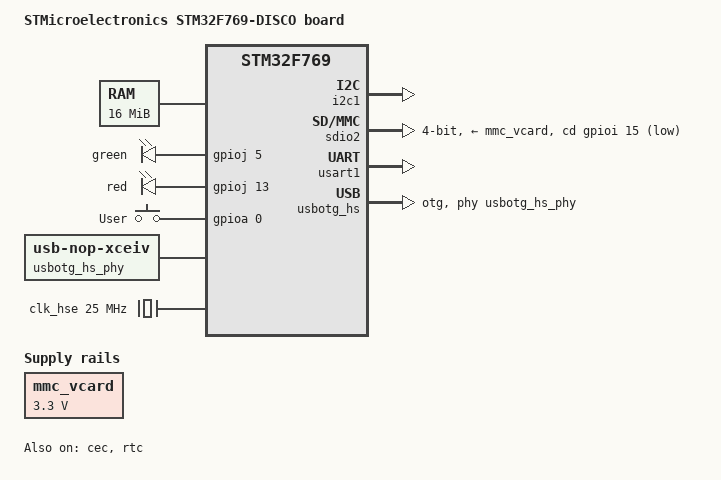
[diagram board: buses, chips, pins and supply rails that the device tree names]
/*
 * Copyright 2017 - Vikas MANOCHA <vikas.manocha@st.com>
 *
 * This file is dual-licensed: you can use it either under the terms
 * of the GPL or the X11 license, at your option. Note that this dual
 * licensing only applies to this file, and not this project as a
 * whole.
 *
 *  a) This file is free software; you can redistribute it and/or
 *     modify it under the terms of the GNU General Public License as
 *     published by the Free Software Foundation; either version 2 of the
 *     License, or (at your option) any later version.
 *
 *     This file is distributed in the hope that it will be useful,
 *     but WITHOUT ANY WARRANTY; without even the implied warranty of
 *     MERCHANTABILITY or FITNESS FOR A PARTICULAR PURPOSE.  See the
 *     GNU General Public License for more details.
 *
 * Or, alternatively,
 *
 *  b) Permission is hereby granted, free of charge, to any person
 *     obtaining a copy of this software and associated documentation
 *     files (the "Software"), to deal in the Software without
 *     restriction, including without limitation the rights to use,
 *     copy, modify, merge, publish, distribute, sublicense, and/or
 *     sell copies of the Software, and to permit persons to whom the
 *     Software is furnished to do so, subject to the following
 *     conditions:
 *
 *     The above copyright notice and this permission notice shall be
 *     included in all copies or substantial portions of the Software.
 *
 *     THE SOFTWARE IS PROVIDED "AS IS", WITHOUT WARRANTY OF ANY KIND,
 *     EXPRESS OR IMPLIED, INCLUDING BUT NOT LIMITED TO THE WARRANTIES
 *     OF MERCHANTABILITY, FITNESS FOR A PARTICULAR PURPOSE AND
 *     NONINFRINGEMENT. IN NO EVENT SHALL THE AUTHORS OR COPYRIGHT
 *     HOLDERS BE LIABLE FOR ANY CLAIM, DAMAGES OR OTHER LIABILITY,
 *     WHETHER IN AN ACTION OF CONTRACT, TORT OR OTHERWISE, ARISING
 *     FROM, OUT OF OR IN CONNECTION WITH THE SOFTWARE OR THE USE OR
 *     OTHER DEALINGS IN THE SOFTWARE.
 */

/dts-v1/;
#include "stm32f746.dtsi"
#include "stm32f769-pinctrl.dtsi"
#include <dt-bindings/input/input.h>
#include <dt-bindings/gpio/gpio.h>

/ {
	model = "STMicroelectronics STM32F769-DISCO board";
	compatible = "st,stm32f769-disco", "st,stm32f769";

	chosen {
		bootargs = "root=/dev/ram";
		stdout-path = "serial0:115200n8";
	};

	memory {
		device_type = "memory";
		reg = <0xC0000000 0x1000000>;
	};

	aliases {
		serial0 = &usart1;
	};

	leds {
		compatible = "gpio-leds";
		green {
			gpios = <&gpioj 5 GPIO_ACTIVE_HIGH>;
			linux,default-trigger = "heartbeat";
		};
		red {
			gpios = <&gpioj 13 GPIO_ACTIVE_HIGH>;
		};
	};

	gpio_keys {
		compatible = "gpio-keys";
		#address-cells = <1>;
		#size-cells = <0>;
		autorepeat;
		button@0 {
			label = "User";
			linux,code = <KEY_HOME>;
			gpios = <&gpioa 0 GPIO_ACTIVE_HIGH>;
		};
	};

	usbotg_hs_phy: usb-phy {
		#phy-cells = <0>;
		compatible = "usb-nop-xceiv";
		clocks = <&rcc 0 STM32F7_AHB1_CLOCK(OTGHSULPI)>;
		clock-names = "main_clk";
	};

	mmc_vcard: mmc_vcard {
		compatible = "regulator-fixed";
		regulator-name = "mmc_vcard";
		regulator-min-microvolt = <3300000>;
		regulator-max-microvolt = <3300000>;
	};
};

&rcc {
	compatible = "st,stm32f769-rcc", "st,stm32f746-rcc", "st,stm32-rcc";
};

&cec {
	pinctrl-0 = <&cec_pins_a>;
	pinctrl-names = "default";
	status = "okay";
};

&clk_hse {
	clock-frequency = <25000000>;
};

&i2c1 {
	pinctrl-0 = <&i2c1_pins_b>;
	pinctrl-names = "default";
	i2c-scl-rising-time-ns = <185>;
	i2c-scl-falling-time-ns = <20>;
	status = "okay";
};

&rtc {
	status = "okay";
};

&sdio2 {
	status = "okay";
	vmmc-supply = <&mmc_vcard>;
	cd-gpios = <&gpioi 15 GPIO_ACTIVE_LOW>;
	broken-cd;
	pinctrl-names = "default", "opendrain";
	pinctrl-0 = <&sdio_pins_b>;
	pinctrl-1 = <&sdio_pins_od_b>;
	bus-width = <4>;
};

&usart1 {
	pinctrl-0 = <&usart1_pins_a>;
	pinctrl-names = "default";
	status = "okay";
};

&usbotg_hs {
	dr_mode = "otg";
	phys = <&usbotg_hs_phy>;
	phy-names = "usb2-phy";
	pinctrl-0 = <&usbotg_hs_pins_a>;
	pinctrl-names = "default";
	status = "okay";
};
